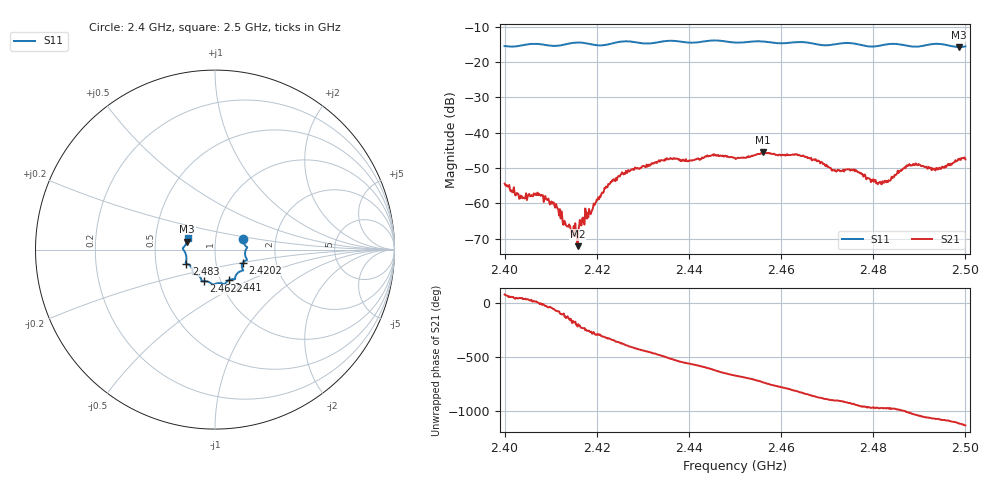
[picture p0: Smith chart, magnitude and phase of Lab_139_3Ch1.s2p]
# Hz S RI R 50
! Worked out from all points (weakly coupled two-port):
!   601 points, 2.4 GHz to 2.5 GHz, reference 50 ohm
!   highest |S21| = -45.55 dB at 2.456 GHz (marker M1); lowest = -72.1 dB at 2.4158 GHz (marker M2)
!   lowest |S11| = -15.8 dB at 2.4987 GHz (marker M3), VSWR 1.39, Z = 36.4 + j3.33 ohm
!   |S11| at or under -10 dB: start of sweep to end of sweep
!   S12 and S22 are empty: the file has one direction only
!   S11 on the Smith chart (normalised r, x): 2.4 GHz: 1.36, +0.17; 2.4202 GHz: 1.35, -0.20; 2.441 GHz: 1.09, -0.39; 2.4622 GHz: 0.83, -0.30; 2.483 GHz: 0.72, -0.12; 2.5 GHz: 0.73, +0.09
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2.4e9  0.1561 0.0599  0.000449 0.00184  0 0  0 0
2.403667e9  0.1697 0.0212  0.000965 0.000814  0 0  0 0
2.409167e9  0.1722 0.000455  0.000926 -0.000636  0 0  0 0
2.411167e9  0.1671 -0.0209  0.000269 -0.00094  0 0  0 0
2.413167e9  0.1715 -0.0428  -0.000314 -0.000423  0 0  0 0
2.415833e9  0.179 -0.0571  -0.000188 0.00016  0 0  0 0
2.416667e9  0.1778 -0.0582  -0.000299 0.000382  0 0  0 0
2.420167e9  0.1557 -0.072  0.000316 0.00107  0 0  0 0
2.425167e9  0.156 -0.1137  0.0025 -0.000408  0 0  0 0
2.433333e9  0.1129 -0.1524  -0.00193 -0.00339  0 0  0 0
2.441e9  0.0764 -0.1707  -0.00352 0.00206  0 0  0 0
2.45e9  0.0263 -0.186  0.0029 0.00324  0 0  0 0
2.456e9  -0.0138 -0.1941  0.00512 -0.00128  0 0  0 0
2.462167e9  -0.0636 -0.1763  0.000603 -0.0048  0 0  0 0
2.466667e9  -0.0763 -0.1667  -0.00299 -0.00271  0 0  0 0
2.4715e9  -0.1111 -0.137  -0.00295 4.07e-05  0 0  0 0
2.483e9  -0.1592 -0.0781  -0.000657 0.00195  0 0  0 0
2.483333e9  -0.1609 -0.0773  -0.000508 0.00205  0 0  0 0
2.487667e9  -0.1594 -0.0521  0.00147 0.00313  0 0  0 0
2.493667e9  -0.1801 0.00566  0.00312 0.000472  0 0  0 0
2.498667e9  -0.1555 0.0445  0.0034 -0.00234  0 0  0 0
2.5e9  -0.1529 0.0632  0.00255 -0.00331  0 0  0 0
